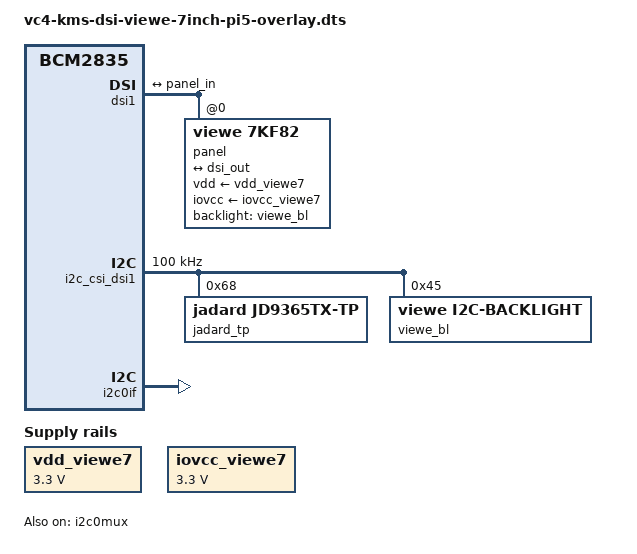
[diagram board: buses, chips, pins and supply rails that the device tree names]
/*
 * dtoverlay=vc4-kms-dsi-viewe-7inch-pi5
 * VIEWE 7" 720x1280 JD9365TX, DISP1 + i2c_csi_dsi1 (Pi 5).
 */

/dts-v1/;
/plugin/;

/ {
	compatible = "brcm,bcm2835";

	fragment@0 {
		target = <&dsi1>;
		__overlay__ {
			status = "okay";
			#address-cells = <1>;
			#size-cells = <0>;

			port {
				dsi_out: endpoint {
					remote-endpoint = <&panel_in>;
					data-lanes = <0 1>;
				};
			};

			panel: panel@0 {
				compatible = "viewe,7kf82";
				reg = <0>;
				status = "okay";

				vdd-supply = <&vdd_viewe7>;
				iovcc-supply = <&iovcc_viewe7>;
				backlight = <&viewe_bl>;

				port {
					panel_in: endpoint {
						remote-endpoint = <&dsi_out>;
						data-lanes = <0 1>;
					};
				};
			};
		};
	};

	fragment@1 {
		target-path = "/";
		__overlay__ {
			vdd_viewe7: regulator-vdd-viewe7 {
				compatible = "regulator-fixed";
				regulator-name = "vdd-viewe7";
				regulator-min-microvolt = <3300000>;
				regulator-max-microvolt = <3300000>;
				regulator-always-on;
			};

			iovcc_viewe7: regulator-iovcc-viewe7 {
				compatible = "regulator-fixed";
				regulator-name = "iovcc-viewe7";
				regulator-min-microvolt = <3300000>;
				regulator-max-microvolt = <3300000>;
				regulator-always-on;
			};
		};
	};

	fragment@2 {
		target = <&i2c_csi_dsi1>;
		__overlay__ {
			status = "okay";
			clock-frequency = <100000>;
			#address-cells = <1>;
			#size-cells = <0>;

			jadard_tp: touch@68 {
				compatible = "jadard,jd9365tx-tp";
				reg = <0x68>;
				touchscreen-size-x = <720>;
				touchscreen-size-y = <1280>;
				jadard,max-touch-number = <10>;
				jadard,poll-interval-ms = <16>;
				status = "okay";
			};

			viewe_bl: bl@45 {
				compatible = "viewe,i2c-backlight";
				reg = <0x45>;
				default-brightness = <200>;
				status = "okay";
			};
		};
	};

	fragment@3 {
		target = <&i2c0if>;
		__overlay__ {
			status = "okay";
		};
	};

	fragment@4 {
		target = <&i2c0mux>;
		__overlay__ {
			status = "okay";
		};
	};

	__overrides__ {
		rotation = <&panel>, "rotation:0";
		notouch = <&jadard_tp>, "status=disabled";
		nobl = <&viewe_bl>, "status=disabled";
		invx = <&jadard_tp>, "touchscreen-inverted-x?";
		invy = <&jadard_tp>, "touchscreen-inverted-y?";
		swapxy = <&jadard_tp>, "touchscreen-swapped-x-y?";
	};
};
